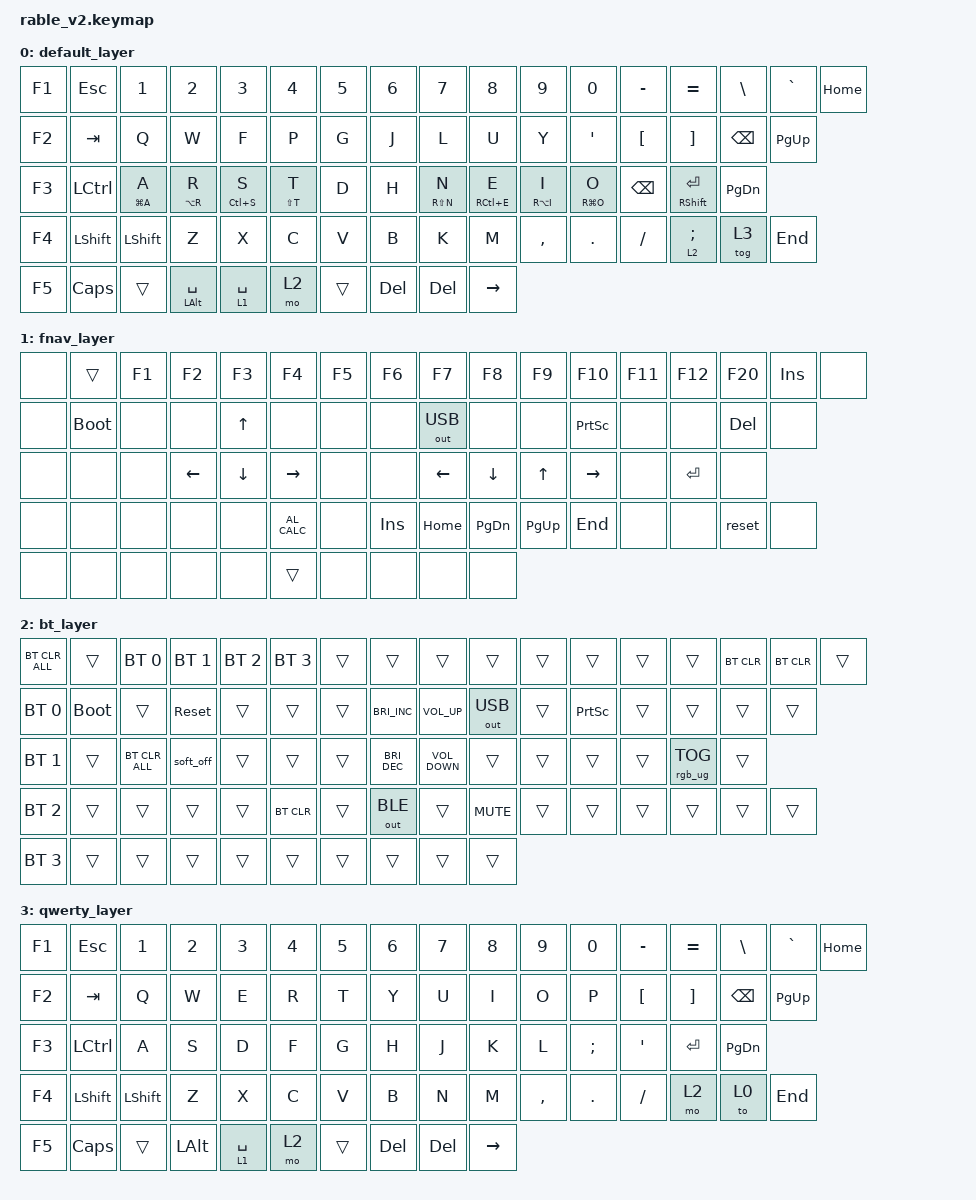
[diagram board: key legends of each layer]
/*
 * Copyright (c) 2021 Nick Winans
 *
 * SPDX-License-Identifier: MIT
 */

#include <behaviors.dtsi>
#include <dt-bindings/zmk/bt.h>
#include <dt-bindings/zmk/keys.h>
#include <dt-bindings/zmk/outputs.h>
#include <dt-bindings/zmk/rgb.h>

/ {
    keymap {
        compatible = "zmk,keymap";

        default_layer {
            bindings = <
&kp F1  &kp ESC    &kp N1       &kp N2              &kp N3       &kp N4       &kp N5  &kp N6   &kp N7       &kp N8       &kp N9       &kp N0       &kp MINUS      &kp EQUAL        &kp BACKSLASH  &kp GRAVE  &kp HOME
&kp F2  &kp TAB    &kp Q        &kp W               &kp F        &kp P        &kp G   &kp J    &kp L        &kp U        &kp Y        &kp SQT      &kp LBKT       &kp RBKT         &kp BACKSPACE  &kp PG_UP
&kp F3  &kp LCTRL  &mt LG(A) A  &mt LA(R) R         &mt LC(S) S  &mt LS(T) T  &kp D   &kp H    &mt RS(N) N  &mt RC(E) E  &mt RA(I) I  &mt RG(O) O  &kp BACKSPACE  &mt RSHFT ENTER  &kp PG_DN
&kp F4  &kp LSHFT  &kp LSHFT    &kp Z               &kp X        &kp C        &kp V   &kp B    &kp K        &kp M        &kp COMMA    &kp DOT      &kp FSLH       &lt 2 SEMI       &tog 3         &kp END
&kp F5  &kp CAPS   &trans       &mt LEFT_ALT SPACE  &lt 1 SPACE  &mo 2        &trans  &kp DEL  &kp DELETE   &kp RIGHT
            >;
        };

        fnav_layer {
            bindings = <
&none  &trans       &kp F1  &kp F2    &kp F3          &kp F4         &kp F5  &kp F6   &kp F7        &kp F8          &kp F9        &kp F10          &kp F11  &kp F12    &kp F20  &kp INS  &none
&none  &bootloader  &none   &none     &kp UP          &none          &none   &none    &out OUT_USB  &none           &none         &kp PRINTSCREEN  &none    &none      &kp DEL  &none
&none  &none        &none   &kp LEFT  &kp DOWN_ARROW  &kp RIGHT      &none   &none    &kp LEFT      &kp DOWN_ARROW  &kp UP_ARROW  &kp RIGHT        &none    &kp ENTER  &none
&none  &none        &none   &none     &none           &kp C_AL_CALC  &none   &kp INS  &kp HOME      &kp PAGE_DOWN   &kp PG_UP     &kp END          &none    &none      &reset   &none
&none  &none        &none   &none     &none           &trans         &none   &none    &none         &none
            >;
        };

        bt_layer {
            bindings = <
&bt BT_CLR_ALL  &trans       &bt BT_SEL 0    &bt BT_SEL 1  &bt BT_SEL 2  &bt BT_SEL 3  &trans  &trans                &trans             &trans        &trans  &trans           &trans  &trans           &bt BT_CLR  &bt BT_CLR  &trans
&bt BT_SEL 0    &bootloader  &trans          &sys_reset    &trans        &trans        &trans  &kp C_BRIGHTNESS_INC  &kp C_VOLUME_UP    &out OUT_USB  &trans  &kp PRINTSCREEN  &trans  &trans           &trans      &trans
&bt BT_SEL 1    &trans       &bt BT_CLR_ALL  &soft_off     &trans        &trans        &trans  &kp C_BRI_DEC         &kp C_VOLUME_DOWN  &trans        &trans  &trans           &trans  &rgb_ug RGB_TOG  &trans
&bt BT_SEL 2    &trans       &trans          &trans        &trans        &bt BT_CLR    &trans  &out OUT_BLE          &trans             &kp C_MUTE    &trans  &trans           &trans  &trans           &trans      &trans
&bt BT_SEL 3    &trans       &trans          &trans        &trans        &trans        &trans  &trans                &trans             &trans
            >;
        };

        qwerty_layer {
            bindings = <
&kp F1  &kp ESC    &kp N1     &kp N2    &kp N3       &kp N4  &kp N5  &kp N6   &kp N7      &kp N8     &kp N9     &kp N0    &kp MINUS         &kp EQUAL  &kp BACKSLASH  &kp GRAVE  &kp HOME
&kp F2  &kp TAB    &kp Q      &kp W     &kp E        &kp R   &kp T   &kp Y    &kp U       &kp I      &kp O      &kp P     &kp LBKT          &kp RBKT   &kp BACKSPACE  &kp PG_UP
&kp F3  &kp LCTRL  &kp A      &kp S     &kp D        &kp F   &kp G   &kp H    &kp J       &kp K      &kp L      &kp SEMI  &kp SINGLE_QUOTE  &kp ENTER  &kp PG_DN
&kp F4  &kp LSHFT  &kp LSHFT  &kp Z     &kp X        &kp C   &kp V   &kp B    &kp N       &kp M      &kp COMMA  &kp DOT   &kp SLASH         &mo 2      &to 0          &kp END
&kp F5  &kp CAPS   &trans     &kp LALT  &lt 1 SPACE  &mo 2   &trans  &kp DEL  &kp DELETE  &kp RIGHT
            >;
        };
    };
};
